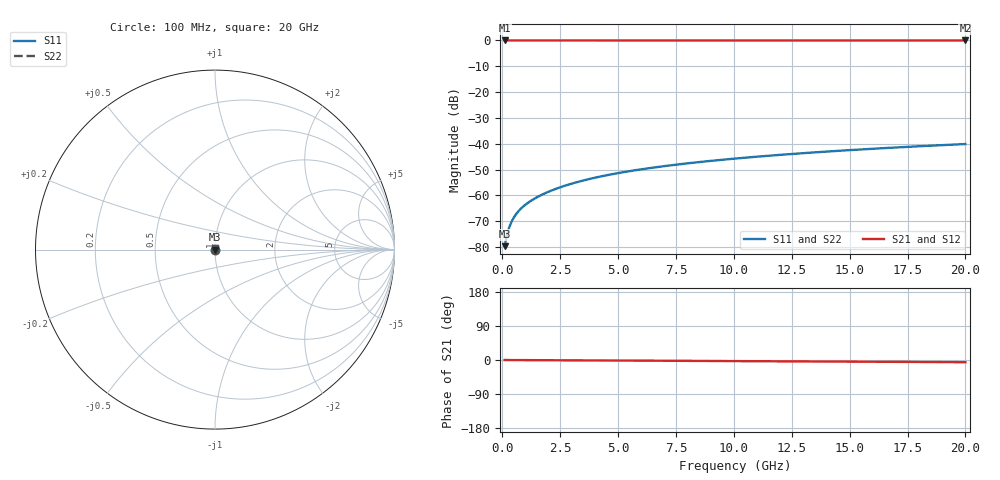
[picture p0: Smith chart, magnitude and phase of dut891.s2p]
! Touchstone file exported from HFSS 2026.1.0
!  File:  C:/ffzhzh/LocalFiles/Ansys_Project_Files/temp_train_TSV_891_1783185964_22436.aedt
!  Generated:  01:27:23 AM Jul  5, 2026
!  Design:  TSV
!  Project:  temp_train_TSV_891_1783185964_22436
! Variables:
!  h_bsmrdl = 2um
!  h_ox = 20um
!  h_rdl = 5um
!  h_sub = 51.51um
!  h_tmrdl = 5um
!  h_tsv = 51.51um
!  h_via = 3um
!  l_bsmrdl = 300um
!  l_sub = 424.32um
!  l_tmrdl = 200um
!  m_sub = 200um
!  pitch = 53.22um
!  r_tsv = 12.16um
!  s_tmrdl = 10um
!  w_bsmrdl = 18um
!  w_sub = 500um
!  w_tmrdl = 12um
!  x_tsv_center1 = 206um
!  x_tsv_center2 = 524um
!  x_tsv_center3 = 736um
!  x_tsv_center4 = 1054um
!  x_tsv_center5 = 1266um
!  x_tsv_center6 = 1584um
# GHz S MA R 50.000000
! Terminal data exported
! Port[1] = TSV1_1_T1
! Port[2] = TSV1_1_T2
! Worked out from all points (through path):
!   200 points, 100 MHz to 20 GHz, reference 50 ohm
!   highest |S21| = 0.00 dB at 100 MHz (marker M1); lowest = 0.0 dB at 20 GHz (marker M2)
!   lowest |S11| = -79.6 dB at 100 MHz (marker M3), VSWR 1.00, Z = 50 + j0.00773 ohm
!   |S11| at or under -10 dB: start of sweep to end of sweep
!   |S22| runs from -79.6 to -40.1 dB; largest |S21 - S12| = 1e-15
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0.1  0.0001043 47.8  0.9999 -0.0  0.9999 -0.0  0.0001043 47.8
! Gamma 0 0 0 0
! Port Impedance 50 0 50 0
0.2  0.0001715 62.8  0.9999 -0.1  0.9999 -0.1  0.0001715 62.8
0.3  0.000242 68.0  0.9999 -0.1  0.9999 -0.1  0.000242 68.0
0.4  0.0003105 70.2  0.9999 -0.1  0.9999 -0.1  0.0003105 70.1
0.5  0.0003758 71.2  0.9999 -0.2  0.9999 -0.2  0.0003758 71.2
0.6  0.0004378 71.8  0.9999 -0.2  0.9999 -0.2  0.0004378 71.8
0.7  0.0004971 72.3  0.9999 -0.2  0.9999 -0.2  0.0004971 72.3
0.9  0.0006092 73.1  0.9998 -0.3  0.9998 -0.3  0.0006092 73.1
1.1  0.0007162 73.9  0.9998 -0.3  0.9998 -0.3  0.0007162 73.9
1.3  0.0008207 74.7  0.9998 -0.4  0.9998 -0.4  0.0008207 74.7
1.6  0.0009755 75.8  0.9998 -0.5  0.9998 -0.5  0.0009755 75.8
1.9  0.00113 76.7  0.9997 -0.6  0.9997 -0.6  0.00113 76.7
2.6  0.00149 78.3  0.9997 -0.8  0.9997 -0.8  0.00149 78.3
3.5  0.00195 79.5  0.9997 -1.0  0.9997 -1.0  0.00195 79.5
4.2  0.002305 80.0  0.9996 -1.2  0.9996 -1.2  0.002305 80.0
5  0.002707 80.3  0.9996 -1.5  0.9996 -1.5  0.002707 80.3
6.8  0.003597 80.8  0.9995 -2.0  0.9995 -2.0  0.003597 80.8
8.3  0.004328 80.9  0.9995 -2.4  0.9995 -2.4  0.004328 80.9
10.1  0.005198 81.0  0.9994 -2.9  0.9994 -2.9  0.005198 81.0
13.4  0.006779 80.8  0.9993 -3.9  0.9993 -3.9  0.006779 80.8
16.7  0.008344 80.3  0.9993 -4.8  0.9993 -4.8  0.008344 80.3
20  0.009889 79.7  0.9992 -5.8  0.9992 -5.8  0.009889 79.7
